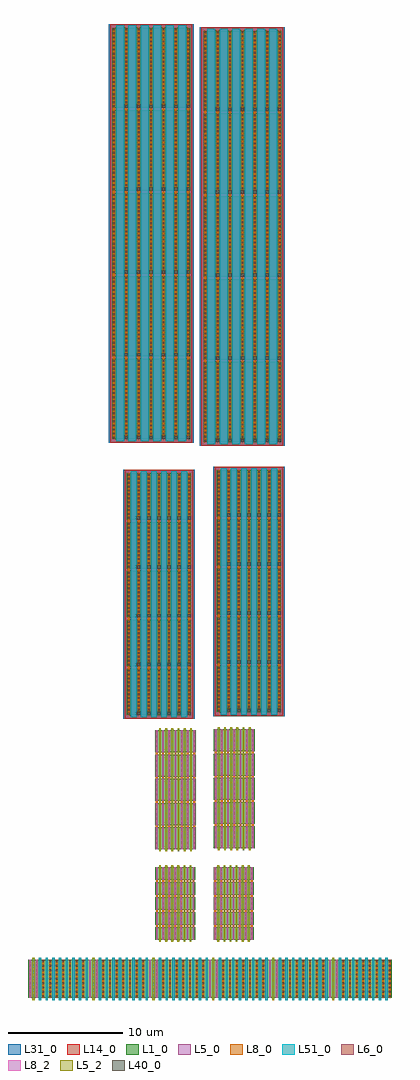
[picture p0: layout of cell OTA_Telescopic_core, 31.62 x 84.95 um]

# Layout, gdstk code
import gdstk
lib = gdstk.Library(unit=1e-6, precision=1e-09)
def R(c, l, rs):  # rectangles x0, y0, x1, y1
    for r in rs: c.add(gdstk.rectangle(r[:2], r[2:], *l))
def A(c, l, x, y, w, h, nx, ny, dx, dy):  # array of equal rectangles
    R(c, l, [(x+i*dx, y+j*dy, x+i*dx+w, y+j*dy+h) for i in range(nx) for j in range(ny)])
L1_0 = (1, 0)
L5_0 = (5, 0)
L5_2 = (5, 2)
L6_0 = (6, 0)
L8_0 = (8, 0)
L8_2 = (8, 2)
L14_0 = (14, 0)
L31_0 = (31, 0)
L40_0 = (40, 0)
L51_0 = (51, 0)

nmos_5 = lib.new_cell('nmos$5')
A(nmos_5, L1_0, 0, 0, 0.3, 0.3, 10, 1, 0.58, 0)
R(nmos_5, L1_0, [(0,0,5.52,3.33)])
A(nmos_5, L5_0, 0.34, -0.18, 0.2, 3.69, 9, 1, 0.58, 0)
R(nmos_5, L5_2, [(0.34,-0.18,0.54,3.51)])
A(nmos_5, L6_0, 0.07, 0.07, 0.16, 0.16, 10, 2, 0.58, 0.375)
A(nmos_5, L6_0, 0.07, 0.825, 0.16, 0.16, 10, 3, 0.58, 0.38)
A(nmos_5, L6_0, 0.07, 1.96, 0.16, 0.16, 10, 4, 0.58, 0.38)
A(nmos_5, L8_0, 0.07, 0, 0.16, 3.33, 10, 1, 0.58, 0)
R(nmos_5, L8_2, [(0.07,0,0.23,3.33), (0.65,0,0.81,3.33)])
A(nmos_5, L51_0, 0.34, -0.18, 0.2, 3.69, 9, 1, 0.58, 0)
nmos_5.add(gdstk.Label('nmos', (0.44,1.665), layer=63, texttype=0))
nmos_5.add(gdstk.Label('nmos', (0.44,1.665), layer=51, texttype=0))
nmos_5.add(gdstk.Label('nmos', (1.02,1.665), layer=51, texttype=0))
nmos_5.add(gdstk.Label('nmos', (1.6,1.665), layer=51, texttype=0))
nmos_5.add(gdstk.Label('nmos', (2.18,1.665), layer=51, texttype=0))
nmos_5.add(gdstk.Label('nmos', (2.76,1.665), layer=51, texttype=0))
nmos_5.add(gdstk.Label('nmos', (3.34,1.665), layer=51, texttype=0))
nmos_5.add(gdstk.Label('nmos', (3.92,1.665), layer=51, texttype=0))
nmos_5.add(gdstk.Label('nmos', (4.5,1.665), layer=51, texttype=0))
nmos_5.add(gdstk.Label('nmos', (5.08,1.665), layer=51, texttype=0))

c_m0 = lib.new_cell('M0')
r = gdstk.Reference(nmos_5, (-0.44,-0.155)); r.repetition = gdstk.Repetition(6, 1, v1=(5.22,0), v2=(0,0)); c_m0.add(r)

nmos_1 = lib.new_cell('nmos$1')
R(nmos_1, L1_0, [(0,0,0.3,0.3), (0,0,0.83,1.1), (0.53,0,0.83,0.3)])
R(nmos_1, L5_0, [(0.34,-0.18,0.49,1.28)])
R(nmos_1, L5_2, [(0.34,-0.18,0.49,1.28)])
A(nmos_1, L6_0, 0.07, 0.07, 0.16, 0.16, 1, 3, 0, 0.4)
A(nmos_1, L6_0, 0.6, 0.07, 0.16, 0.16, 1, 3, 0, 0.4)
R(nmos_1, L8_0, [(0.07,0,0.23,1.1), (0.6,0,0.76,1.1)])
R(nmos_1, L8_2, [(0.07,0,0.23,1.1), (0.6,0,0.76,1.1)])
R(nmos_1, L51_0, [(0.34,-0.18,0.49,1.28)])
nmos_1.add(gdstk.Label('nmos', (0.415,0.55), layer=63, texttype=0))
nmos_1.add(gdstk.Label('nmos', (0.415,0.55), layer=51, texttype=0))

m1_conm1m2 = lib.new_cell('M1_conM1M2')
R(m1_conm1m2, L8_0, [(0,0,0.16,0.21)])

m1m2 = lib.new_cell('M1M2')
r = gdstk.Reference(nmos_1, (-0.425,-0.13)); r.repetition = gdstk.Repetition(6, 5, v1=(0.53,0), v2=(0,1.31)); m1m2.add(r)
r = gdstk.Reference(m1_conm1m2, (-0.355,0.97)); r.repetition = gdstk.Repetition(7, 4, v1=(0.53,0), v2=(0,1.31)); m1m2.add(r)

nmos_2 = lib.new_cell('nmos$2')
R(nmos_2, L1_0, [(0,0,0.3,0.3), (0,0,0.84,1.9), (0.54,0,0.84,0.3)])
R(nmos_2, L5_0, [(0.34,-0.18,0.5,2.08)])
R(nmos_2, L5_2, [(0.34,-0.18,0.5,2.08)])
A(nmos_2, L6_0, 0.07, 0.07, 0.16, 0.16, 1, 5, 0, 0.4)
A(nmos_2, L6_0, 0.61, 0.07, 0.16, 0.16, 1, 5, 0, 0.4)
R(nmos_2, L8_0, [(0.07,0,0.23,1.9), (0.61,0,0.77,1.9)])
R(nmos_2, L8_2, [(0.07,0,0.23,1.9), (0.61,0,0.77,1.9)])
R(nmos_2, L51_0, [(0.34,-0.18,0.5,2.08)])
nmos_2.add(gdstk.Label('nmos', (0.42,0.95), layer=63, texttype=0))
nmos_2.add(gdstk.Label('nmos', (0.42,0.95), layer=51, texttype=0))

m1_conm3m4 = lib.new_cell('M1_conM3M4')
R(m1_conm3m4, L8_0, [(0,0,0.16,0.21)])

m3m4 = lib.new_cell('M3M4')
r = gdstk.Reference(nmos_2, (-0.395,-0.12)); r.repetition = gdstk.Repetition(6, 5, v1=(0.54,0), v2=(0,2.11)); m3m4.add(r)
r = gdstk.Reference(m1_conm3m4, (-0.325,1.78)); r.repetition = gdstk.Repetition(7, 4, v1=(0.54,0), v2=(0,2.11)); m3m4.add(r)

pmos_2 = lib.new_cell('pmos$2')
R(pmos_2, L1_0, [(0,0,0.3,0.3), (0,0,1.18,4.05), (0.88,0,1.18,0.3)])
R(pmos_2, L5_0, [(0.34,-0.18,0.84,4.23), (0.34,-0.18,0.84,4.23)])
A(pmos_2, L6_0, 0.07, 0.07, 0.16, 0.16, 1, 6, 0, 0.34)
A(pmos_2, L6_0, 0.95, 0.07, 0.16, 0.16, 1, 6, 0, 0.34)
A(pmos_2, L6_0, 0.07, 2.115, 0.16, 0.16, 1, 5, 0, 0.34)
A(pmos_2, L6_0, 0.95, 2.115, 0.16, 0.16, 1, 5, 0, 0.34)
R(pmos_2, L6_0, [(0.07,3.82,0.23,3.98), (0.95,3.82,1.11,3.98)])
R(pmos_2, L8_0, [(0.07,0,0.23,4.05), (0.07,0,0.23,4.05), (0.95,0,1.11,4.05), (0.95,0,1.11,4.05)])
R(pmos_2, L14_0, [(-0.18,-0.3,1.36,4.35)])
R(pmos_2, L31_0, [(-0.31,-0.31,1.49,4.36)])
R(pmos_2, L40_0, [(0.88,0,1.18,0.3)])
R(pmos_2, L51_0, [(0.34,-0.18,0.84,4.23)])
pmos_2.add(gdstk.Label('pmos', (0.59,2.025), layer=63, texttype=0))
pmos_2.add(gdstk.Label('pmos', (0.59,2.025), layer=51, texttype=0))

m1_conm5m6 = lib.new_cell('M1_conM5M6')
R(m1_conm5m6, L8_0, [(0,0,0.16,0.21)])

m5m6 = lib.new_cell('M5M6')
r = gdstk.Reference(pmos_2, (-0.455,-0.12)); r.repetition = gdstk.Repetition(6, 5, v1=(0.88,0), v2=(0,4.26)); m5m6.add(r)
r = gdstk.Reference(m1_conm5m6, (-0.385,3.93)); r.repetition = gdstk.Repetition(7, 4, v1=(0.88,0), v2=(0,4.26)); m5m6.add(r)

pmos_3 = lib.new_cell('pmos$3')
R(pmos_3, L1_0, [(0,0,0.3,0.3), (0,0,1.38,7), (1.08,0,1.38,0.3)])
R(pmos_3, L5_0, [(0.34,-0.18,1.04,7.18), (0.34,-0.18,1.04,7.18)])
A(pmos_3, L6_0, 0.07, 6.06, 0.16, 0.16, 1, 3, 0, 0.355)
A(pmos_3, L6_0, 1.15, 6.06, 0.16, 0.16, 1, 3, 0, 0.355)
R(pmos_3, L6_0, [(0.07,0.07,0.23,0.23), (1.15,0.07,1.31,0.23), (0.07,0.42,0.23,0.58), (1.15,0.42,1.31,0.58), (0.07,0.775,0.23,0.935), (1.15,0.775,1.31,0.935), (0.07,1.125,0.23,1.285), (1.15,1.125,1.31,1.285), (0.07,1.48,0.23,1.64), (1.15,1.48,1.31,1.64), (0.07,1.83,0.23,1.99), (1.15,1.83,1.31,1.99), (0.07,2.185,0.23,2.345), (1.15,2.185,1.31,2.345), (0.07,2.535,0.23,2.695), (1.15,2.535,1.31,2.695), (0.07,2.89,0.23,3.05), (1.15,2.89,1.31,3.05), (0.07,3.24,0.23,3.4), (1.15,3.24,1.31,3.4), (0.07,3.595,0.23,3.755), (1.15,3.595,1.31,3.755), (0.07,3.945,0.23,4.105), (1.15,3.945,1.31,4.105), (0.07,4.3,0.23,4.46), (1.15,4.3,1.31,4.46), (0.07,4.65,0.23,4.81), (1.15,4.65,1.31,4.81), (0.07,5.005,0.23,5.165), (1.15,5.005,1.31,5.165), (0.07,5.355,0.23,5.515), (1.15,5.355,1.31,5.515), (0.07,5.71,0.23,5.87), (1.15,5.71,1.31,5.87)])
R(pmos_3, L8_0, [(0.07,0,0.23,7), (0.07,0,0.23,7), (1.15,0,1.31,7), (1.15,0,1.31,7)])
R(pmos_3, L14_0, [(-0.18,-0.3,1.56,7.3)])
R(pmos_3, L31_0, [(-0.31,-0.31,1.69,7.31)])
R(pmos_3, L40_0, [(1.08,0,1.38,0.3)])
R(pmos_3, L51_0, [(0.34,-0.18,1.04,7.18)])
pmos_3.add(gdstk.Label('pmos', (0.69,3.5), layer=63, texttype=0))
pmos_3.add(gdstk.Label('pmos', (0.69,3.5), layer=51, texttype=0))

m1_conm7m8 = lib.new_cell('M1_conM7M8')
R(m1_conm7m8, L8_0, [(0,0,0.16,0.21)])

m7m8 = lib.new_cell('M7M8')
r = gdstk.Reference(pmos_3, (-0.44,-0.15)); r.repetition = gdstk.Repetition(6, 5, v1=(1.08,0), v2=(0,7.21)); m7m8.add(r)
r = gdstk.Reference(m1_conm7m8, (-0.37,6.85)); r.repetition = gdstk.Repetition(7, 4, v1=(1.08,0), v2=(0,7.21)); m7m8.add(r)

ota_telescopic_core = lib.new_cell('OTA_Telescopic_core')
ota_telescopic_core.add(gdstk.Reference(c_m0, (3.495,0.72)))
ota_telescopic_core.add(gdstk.Reference(m1m2, (14.53,5.745)))
ota_telescopic_core.add(gdstk.Reference(m1m2, (19.6,5.745)))
ota_telescopic_core.add(gdstk.Reference(m3m4, (14.485,13.625)))
ota_telescopic_core.add(gdstk.Reference(m3m4, (19.6,13.715)))
ota_telescopic_core.add(gdstk.Reference(m5m6, (12.085,25.28)))
ota_telescopic_core.add(gdstk.Reference(m5m6, (19.92,25.535)))
ota_telescopic_core.add(gdstk.Reference(m7m8, (10.785,49.34)))
ota_telescopic_core.add(gdstk.Reference(m7m8, (18.74,49.075)))

lib.write_gds('OTA_Telescopic_core.gds')
